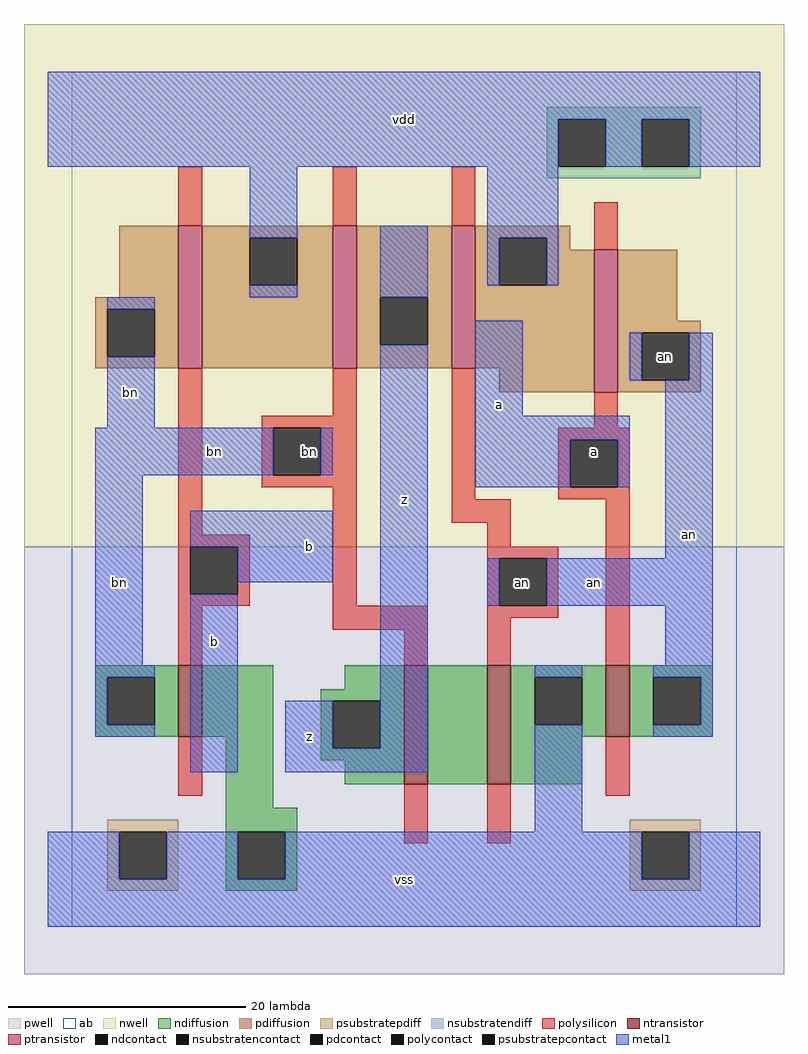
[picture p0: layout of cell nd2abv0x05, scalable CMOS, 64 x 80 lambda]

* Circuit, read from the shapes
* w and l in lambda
.subckt nd2abv0x05 a an b bn vdd vss z
M1 vss b bn vss nfet w=6 l=2
M2 n1 bn z vss nfet w=10 l=2
M3 vss an n1 vss nfet w=10 l=2
M4 an a vss vss nfet w=6 l=2
M5 vdd b bn vdd pfet w=12 l=2
M6 z bn vdd vdd pfet w=12 l=2
M7 vdd an z vdd pfet w=12 l=2
M8 an a vdd vdd pfet w=12 l=2
.ends

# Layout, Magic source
magic
tech scmos
<< ab >>
rect 0 0 56 72
<< pwell >>
rect -4 -4 60 32
<< nwell >>
rect -4 32 60 76
<< polysilicon >>
rect 9 59 11 64
rect 22 59 24 64
rect 32 59 34 64
rect 44 57 46 61
rect 9 33 11 47
rect 22 43 24 47
rect 16 42 24 43
rect 16 38 17 42
rect 21 38 24 42
rect 16 37 24 38
rect 9 32 15 33
rect 9 28 10 32
rect 14 28 15 32
rect 9 27 15 28
rect 22 27 24 37
rect 32 36 34 47
rect 44 42 46 45
rect 41 41 47 42
rect 41 37 42 41
rect 46 37 47 41
rect 41 36 47 37
rect 32 34 37 36
rect 35 32 37 34
rect 35 31 41 32
rect 35 27 36 31
rect 40 27 41 31
rect 9 22 11 27
rect 22 25 30 27
rect 28 22 30 25
rect 35 26 41 27
rect 35 22 37 26
rect 45 22 47 36
rect 9 11 11 16
rect 28 7 30 12
rect 35 7 37 12
rect 45 11 47 16
<< ndiffusion >>
rect 2 21 9 22
rect 2 17 3 21
rect 7 17 9 21
rect 2 16 9 17
rect 11 16 17 22
rect 23 20 28 22
rect 13 10 17 16
rect 21 19 28 20
rect 21 15 22 19
rect 26 15 28 19
rect 21 14 28 15
rect 23 12 28 14
rect 30 12 35 22
rect 37 21 45 22
rect 37 17 39 21
rect 43 17 45 21
rect 37 16 45 17
rect 47 21 54 22
rect 47 17 49 21
rect 53 17 54 21
rect 47 16 54 17
rect 37 12 43 16
rect 13 8 19 10
rect 13 4 14 8
rect 18 4 19 8
rect 13 3 19 4
<< pdiffusion >>
rect 4 53 9 59
rect 2 52 9 53
rect 2 48 3 52
rect 7 48 9 52
rect 2 47 9 48
rect 11 58 22 59
rect 11 54 15 58
rect 19 54 22 58
rect 11 47 22 54
rect 24 53 32 59
rect 24 49 26 53
rect 30 49 32 53
rect 24 47 32 49
rect 34 58 42 59
rect 34 54 36 58
rect 40 57 42 58
rect 40 54 44 57
rect 34 47 44 54
rect 36 45 44 47
rect 46 51 51 57
rect 46 50 53 51
rect 46 46 48 50
rect 52 46 53 50
rect 46 45 53 46
<< metal1 >>
rect -2 68 58 72
rect -2 64 41 68
rect 45 64 48 68
rect 52 64 58 68
rect 15 58 19 64
rect 15 53 19 54
rect 26 53 30 59
rect 35 58 41 64
rect 35 54 36 58
rect 40 54 41 58
rect 3 52 7 53
rect 3 42 7 48
rect 2 38 17 42
rect 21 38 22 42
rect 2 22 6 38
rect 10 32 22 35
rect 14 29 22 32
rect 2 21 7 22
rect 2 17 3 21
rect 2 16 7 17
rect 10 13 14 28
rect 18 15 22 19
rect 26 15 30 49
rect 34 43 38 51
rect 47 46 48 50
rect 52 46 54 50
rect 34 41 47 43
rect 34 37 42 41
rect 46 37 47 41
rect 50 31 54 46
rect 35 27 36 31
rect 40 27 54 31
rect 50 22 54 27
rect 18 13 30 15
rect 39 21 43 22
rect 39 8 43 17
rect 49 21 54 22
rect 53 17 54 21
rect 49 16 54 17
rect -2 4 4 8
rect 8 4 14 8
rect 18 4 48 8
rect 52 4 58 8
rect -2 0 58 4
<< ntransistor >>
rect 9 16 11 22
rect 28 12 30 22
rect 35 12 37 22
rect 45 16 47 22
<< ptransistor >>
rect 9 47 11 59
rect 22 47 24 59
rect 32 47 34 59
rect 44 45 46 57
<< polycontact >>
rect 17 38 21 42
rect 10 28 14 32
rect 42 37 46 41
rect 36 27 40 31
<< ndcontact >>
rect 3 17 7 21
rect 22 15 26 19
rect 39 17 43 21
rect 49 17 53 21
rect 14 4 18 8
<< pdcontact >>
rect 3 48 7 52
rect 15 54 19 58
rect 26 49 30 53
rect 36 54 40 58
rect 48 46 52 50
<< psubstratepcontact >>
rect 4 4 8 8
rect 48 4 52 8
<< nsubstratencontact >>
rect 41 64 45 68
rect 48 64 52 68
<< psubstratepdiff >>
rect 3 8 9 9
rect 3 4 4 8
rect 8 4 9 8
rect 3 3 9 4
rect 47 8 53 9
rect 47 4 48 8
rect 52 4 53 8
rect 47 3 53 4
<< nsubstratendiff >>
rect 40 68 53 69
rect 40 64 41 68
rect 45 64 48 68
rect 52 64 53 68
rect 40 63 53 64
<< labels >>
rlabel polycontact 20 40 20 40 6 bn
rlabel polycontact 38 29 38 29 6 an
rlabel metal1 5 45 5 45 6 bn
rlabel metal1 4 29 4 29 6 bn
rlabel metal1 20 16 20 16 6 z
rlabel metal1 12 24 12 24 6 b
rlabel metal1 20 32 20 32 6 b
rlabel metal1 12 40 12 40 6 bn
rlabel metal1 28 4 28 4 6 vss
rlabel metal1 28 36 28 36 6 z
rlabel metal1 36 44 36 44 6 a
rlabel metal1 28 68 28 68 6 vdd
rlabel metal1 44 29 44 29 6 an
rlabel polycontact 44 40 44 40 6 a
rlabel metal1 52 33 52 33 6 an
rlabel pdcontact 50 48 50 48 6 an
<< end >>
